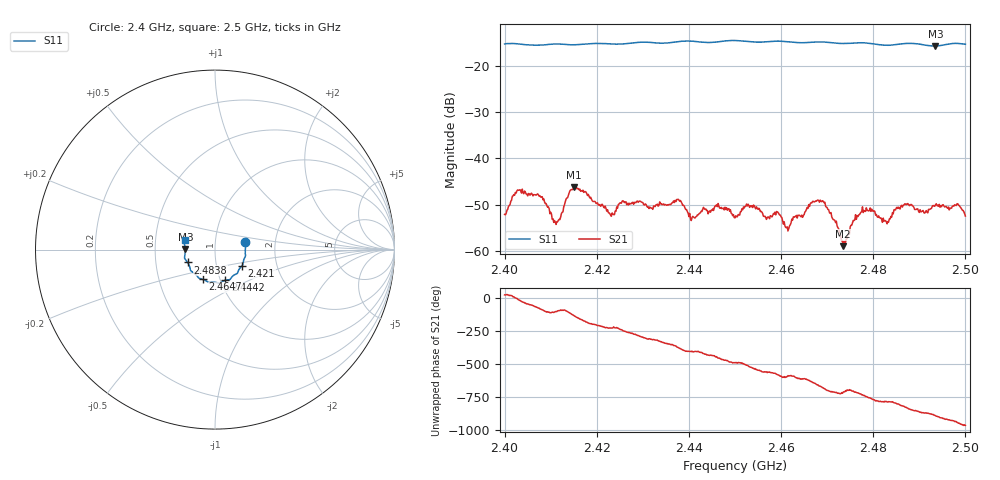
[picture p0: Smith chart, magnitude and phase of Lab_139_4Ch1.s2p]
# Hz S RI R 50
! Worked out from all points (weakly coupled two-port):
!   601 points, 2.4 GHz to 2.5 GHz, reference 50 ohm
!   highest |S21| = -46.18 dB at 2.415 GHz (marker M1); lowest = -59.0 dB at 2.4735 GHz (marker M2)
!   lowest |S11| = -15.7 dB at 2.4935 GHz (marker M3), VSWR 1.39, Z = 35.8 + j0.186 ohm
!   |S11| at or under -10 dB: start of sweep to end of sweep
!   S12 and S22 are empty: the file has one direction only
!   S11 on the Smith chart (normalised r, x): 2.4 GHz: 1.40, +0.12; 2.421 GHz: 1.33, -0.24; 2.4442 GHz: 1.05, -0.37; 2.4647 GHz: 0.83, -0.28; 2.4838 GHz: 0.73, -0.11; 2.5 GHz: 0.71, +0.08
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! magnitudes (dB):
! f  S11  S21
! 2.4 GHz  -15.2  -52.1
! 2.4033 GHz  -15.2  -46.8
! 2.4077 GHz  -15.5  -48.1
! 2.4112 GHz  -15.2  -54.3
! 2.415 GHz  -15.4  -46.2
! 2.4167 GHz  -15.3  -47.0
! 2.421 GHz  -15.1  -50.2
! 2.4233 GHz  -15.2  -51.8
! 2.4333 GHz  -15.0  -50.3
! 2.4442 GHz  -14.9  -52.0
! 2.45 GHz  -14.5  -52.9
! 2.4538 GHz  -14.8  -50.6
! 2.4613 GHz  -14.7  -54.8
! 2.4647 GHz  -14.9  -52.8
! 2.4667 GHz  -14.8  -49.6
! 2.4695 GHz  -14.8  -49.5
! 2.4735 GHz  -15.1  -59.0
! 2.478 GHz  -15.0  -51.3
! 2.4833 GHz  -15.5  -53.8
! 2.4838 GHz  -15.5  -52.6
! 2.4935 GHz  -15.7  -50.1
! 2.5 GHz  -15.3  -52.5
